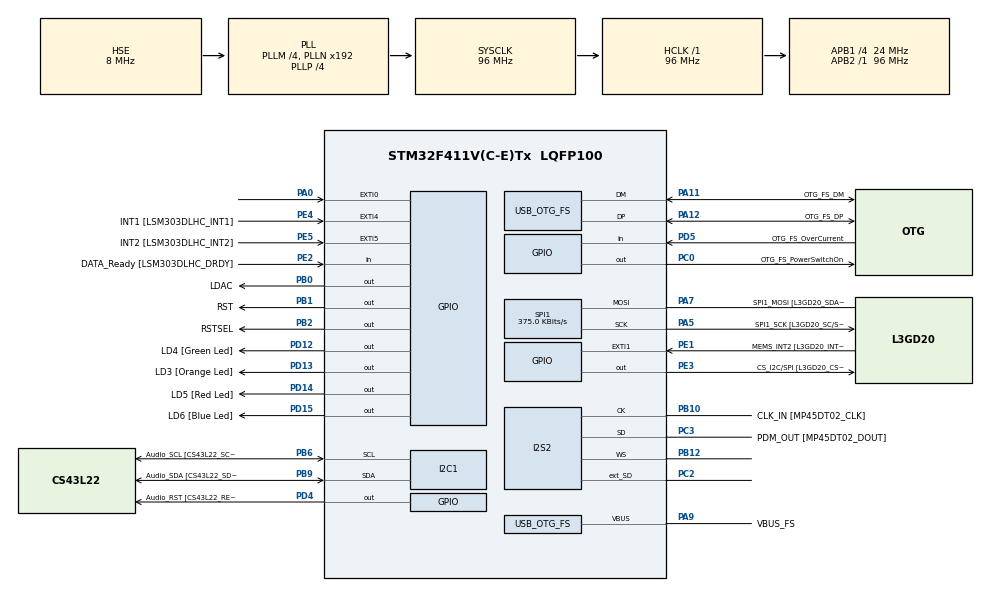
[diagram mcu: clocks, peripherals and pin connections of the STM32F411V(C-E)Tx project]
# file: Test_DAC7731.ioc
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Dma.Request0=SPI1_TX
Dma.SPI1_TX.0.Direction=DMA_MEMORY_TO_PERIPH
Dma.SPI1_TX.0.FIFOMode=DMA_FIFOMODE_DISABLE
Dma.SPI1_TX.0.Instance=DMA2_Stream2
Dma.SPI1_TX.0.MemDataAlignment=DMA_MDATAALIGN_HALFWORD
Dma.SPI1_TX.0.MemInc=DMA_MINC_ENABLE
Dma.SPI1_TX.0.Mode=DMA_NORMAL
Dma.SPI1_TX.0.PeriphDataAlignment=DMA_PDATAALIGN_HALFWORD
Dma.SPI1_TX.0.PeriphInc=DMA_PINC_DISABLE
Dma.SPI1_TX.0.Priority=DMA_PRIORITY_LOW
I2S2.AudioFreq=I2S_AUDIOFREQ_96K
I2S2.ErrorAudioFreq=0.15 %
I2S2.FullDuplexMode=I2S_FULLDUPLEXMODE_ENABLE
I2S2.Instance=SPI$Index
I2S2.RealAudioFreq=96.153 KHz
I2S2.VirtualMode=I2S_MODE_MASTER
Mcu.Family=STM32F4
Mcu.Name=STM32F411V(C-E)Tx
Mcu.Package=LQFP100
NVIC.DMA2_Stream2_IRQn=true\:0\:0\:false\:false\:true\:false\:true\:true
NVIC.OTG_FS_IRQn=true\:0\:0\:false\:false\:true\:true\:true\:true
NVIC.PriorityGroup=NVIC_PRIORITYGROUP_0
NVIC.SPI1_IRQn=true\:0\:0\:false\:false\:true\:true\:true\:true
PA0-WKUP.GPIO_ModeDefaultEXTI=GPIO_MODE_EVT_RISING
PA0-WKUP.Signal=GPXTI0
PA10.GPIO_Label=OTG_FS_ID
PA10.Signal=USB_OTG_FS_ID
PA11.GPIO_Label=OTG_FS_DM
PA11.Mode=Host_Only
PA11.Signal=USB_OTG_FS_DM
PA12.GPIO_Label=OTG_FS_DP
PA12.Mode=Host_Only
PA12.Signal=USB_OTG_FS_DP
PA13.GPIO_Label=SWDIO
PA13.Mode=Serial_Wire
PA13.Signal=SYS_JTMS-SWDIO
PA14.GPIO_Label=SWCLK
PA14.Mode=Serial_Wire
PA14.Signal=SYS_JTCK-SWCLK
PA5.GPIO_Label=SPI1_SCK [L3GD20_SC/SPC]
PA5.Mode=Simplex_Bidirectional_Master
PA5.Signal=SPI1_SCK
PA6.GPIO_Label=SPI1_MISO [L3GD20_AS0/SDO]
PA6.Signal=SPI1_MISO
PA7.GPIO_Label=SPI1_MOSI [L3GD20_SDA/SDI/SDO]
PA7.Mode=Simplex_Bidirectional_Master
PA7.Signal=SPI1_MOSI
PA9.GPIO_Label=VBUS_FS
PA9.Mode=Activate_VBUS
PA9.Signal=USB_OTG_FS_VBUS
PB0.GPIO_Label=LDAC
PB0.GPIO_Speed=GPIO_SPEED_FREQ_VERY_HIGH
PB0.Signal=GPIO_Output
PB1.GPIO_Label=RST
PB1.GPIO_Speed=GPIO_SPEED_FREQ_VERY_HIGH
PB1.Signal=GPIO_Output
PB10.GPIO_Label=CLK_IN [MP45DT02_CLK]
PB10.Mode=Full_Duplex_Master
PB10.Signal=I2S2_CK
PB12.Mode=Full_Duplex_Master
PB12.Signal=I2S2_WS
PB2.GPIO_Label=RSTSEL
PB2.GPIO_Speed=GPIO_SPEED_FREQ_VERY_HIGH
PB2.Signal=GPIO_Output
PB3.GPIO_Label=SWO
PB3.Signal=SYS_JTDO-SWO
PB6.GPIO_Label=Audio_SCL [CS43L22_SCL]
PB6.GPIO_Mode=GPIO_MODE_AF_OD
PB6.GPIO_Pu=GPIO_PULLUP
PB6.GPIO_PuPd=GPIO_NOPULL
PB6.GPIO_Speed=GPIO_SPEED_FREQ_LOW
PB6.Mode=I2C
PB6.Signal=I2C1_SCL
PB9.GPIO_Label=Audio_SDA [CS43L22_SDA]
PB9.GPIO_Mode=GPIO_MODE_AF_OD
PB9.GPIO_Pu=GPIO_PULLUP
PB9.GPIO_PuPd=GPIO_NOPULL
PB9.GPIO_Speed=GPIO_SPEED_FREQ_LOW
PB9.Mode=I2C
PB9.Signal=I2C1_SDA
PC0.GPIO_Label=OTG_FS_PowerSwitchOn
PC0.PinState=GPIO_PIN_SET
PC0.Signal=GPIO_Output
PC10.GPIO_Label=I2S3_SCK [CS43L22_SCLK]
PC10.GPIO_Mode=GPIO_MODE_AF_PP
PC10.GPIO_PuPd=GPIO_NOPULL
PC10.GPIO_Speed=GPIO_SPEED_FREQ_LOW
PC10.Signal=I2S3_CK
PC12.GPIO_Label=I2S3_SD [CS43L22_SDIN]
PC12.GPIO_Mode=GPIO_MODE_AF_PP
PC12.GPIO_PuPd=GPIO_NOPULL
PC12.GPIO_Speed=GPIO_SPEED_FREQ_LOW
PC12.Signal=I2S3_SD
PC14-OSC32_IN.GPIO_Label=PC14-OSC32_IN
PC14-OSC32_IN.Mode=LSE-External-Oscillator
PC14-OSC32_IN.Signal=RCC_OSC32_IN
PC15-OSC32_OUT.GPIO_Label=PC15-OSC32_OUT
PC15-OSC32_OUT.Mode=LSE-External-Oscillator
PC15-OSC32_OUT.Signal=RCC_OSC32_OUT
PC2.Mode=Full_Duplex_Master
PC2.Signal=I2S2_ext_SD
PC3.GPIO_Label=PDM_OUT [MP45DT02_DOUT]
PC3.Mode=Full_Duplex_Master
PC3.Signal=I2S2_SD
PC7.GPIO_Label=I2S3_MCK [CS43L22_MCLK]
PC7.GPIO_Mode=GPIO_MODE_AF_PP
PC7.GPIO_PuPd=GPIO_NOPULL
PC7.GPIO_Speed=GPIO_SPEED_FREQ_LOW
PC7.Signal=I2S3_MCK
PD12.GPIO_Label=LD4 [Green Led]
PD12.GPIO_PuPd=GPIO_NOPULL
PD12.GPIO_Speed=GPIO_SPEED_FREQ_LOW
PD12.Signal=GPIO_Output
PD13.GPIO_Label=LD3 [Orange Led]
PD13.GPIO_PuPd=GPIO_NOPULL
PD13.GPIO_Speed=GPIO_SPEED_FREQ_LOW
PD13.Signal=GPIO_Output
PD14.GPIO_Label=LD5 [Red Led]
PD14.GPIO_PuPd=GPIO_NOPULL
PD14.GPIO_Speed=GPIO_SPEED_FREQ_LOW
PD14.Signal=GPIO_Output
PD15.GPIO_Label=LD6 [Blue Led]
PD15.GPIO_PuPd=GPIO_NOPULL
PD15.GPIO_Speed=GPIO_SPEED_FREQ_LOW
PD15.Signal=GPIO_Output
PD4.GPIO_Label=Audio_RST [CS43L22_RESET]
PD4.Signal=GPIO_Output
PD5.GPIO_Label=OTG_FS_OverCurrent
PD5.Signal=GPIO_Input
PE1.GPIO_Label=MEMS_INT2 [L3GD20_INT2]
PE1.GPIO_ModeDefaultEXTI=GPIO_MODE_EVT_RISING
PE1.Signal=GPXTI1
PE2.GPIO_Label=DATA_Ready [LSM303DLHC_DRDY]
PE2.Signal=GPIO_Input
PE3.GPIO_Label=CS_I2C/SPI [L3GD20_CS_I2C/SPI]
PE3.Signal=GPIO_Output
PE4.GPIO_Label=INT1 [LSM303DLHC_INT1]
PE4.GPIO_ModeDefaultEXTI=GPIO_MODE_EVT_RISING
PE4.Signal=GPXTI4
PE5.GPIO_Label=INT2 [LSM303DLHC_INT2]
PE5.GPIO_ModeDefaultEXTI=GPIO_MODE_EVT_RISING
PE5.Signal=GPXTI5
PH0\ -\ OSC_IN.GPIO_Label=PH0-OSC_IN
PH0\ -\ OSC_IN.Mode=HSE-External-Oscillator
PH0\ -\ OSC_IN.Signal=RCC_OSC_IN
PH1\ -\ OSC_OUT.GPIO_Label=PH1-OSC_OUT
PH1\ -\ OSC_OUT.Mode=HSE-External-Oscillator
PH1\ -\ OSC_OUT.Signal=RCC_OSC_OUT
ProjectManager.HeapSize=0x200
ProjectManager.StackSize=0x400
ProjectManager.TargetToolchain=Makefile
RCC.48MHZClocksFreq_Value=48000000
RCC.AHBFreq_Value=96000000
RCC.APB1CLKDivider=RCC_HCLK_DIV4
RCC.APB1Freq_Value=24000000
RCC.APB1TimFreq_Value=48000000
RCC.APB2Freq_Value=96000000
RCC.APB2TimFreq_Value=96000000
RCC.CortexFreq_Value=96000000
RCC.HCLKFreq_Value=96000000
RCC.HSE_VALUE=8000000
RCC.HSI_VALUE=16000000
RCC.PLLI2SM=5
RCC.PLLI2SN=200
RCC.PLLM=4
RCC.PLLP=RCC_PLLP_DIV4
RCC.PLLQ=8
RCC.SYSCLKFreq_VALUE=96000000
RCC.SYSCLKSource=RCC_SYSCLKSOURCE_PLLCLK
RCC.VCOOutputFreq_Value=384000000
SPI1.BaudRatePrescaler=SPI_BAUDRATEPRESCALER_256
SPI1.CalculateBaudRate=375.0 KBits/s
SPI1.DataSize=SPI_DATASIZE_16BIT
SPI1.Direction=SPI_DIRECTION_1LINE
SPI1.Mode=SPI_MODE_MASTER
SPI1.VirtualType=VM_MASTER
USB_HOST.BSP.number=1
USB_HOST.USBH_HandleTypeDef=hUsbHostFS
USB_HOST.VirtualModeFS=Cdc
USB_HOST0.BSP.STBoard=false
USB_HOST0.BSP.api=Unknown
USB_HOST0.BSP.instance=PC0
USB_HOST0.BSP.ip=GPIO
USB_HOST0.BSP.mode=Output
USB_HOST0.BSP.name=Drive_VBUS_FS
USB_HOST0.BSP.solution=PC0
USB_OTG_FS.VirtualMode=Host_Only
USB_OTG_FS.phy_itface=HCD_PHY_EMBEDDED
VP_USB_HOST_VS_USB_HOST_CDC_FS.Mode=CDC_FS
board=STM32F411E-DISCO

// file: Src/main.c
/* USER CODE BEGIN Header */
/**
  ******************************************************************************
  * @file           : main.c
  * @brief          : Main program body
  ******************************************************************************
// Input
VCC    <-> +15V
VSS    <-> -15V
AGND <-> GND của VCC VSS <-> GND MCU

VDD    <-> 5V MCU
DGND <-> GND MCU

CS <-> GND

// Output
Vout
AGND

// Data connection with STM32 SPI1
PA5 <-> SCK
PA7 (MOSI) <-> SDI

PB0 - LDAC
PB1 - RST
PB2 - RSTSEL
  ******************************************************************************
  */
/* USER CODE END Header */
#include "main.h"
#include "dma.h"
#include "i2c.h"
#include "i2s.h"
#include "spi.h"
#include "usb_host.h"
#include "gpio.h"

/* USER CODE BEGIN PV */
uint16_t send_data = 0;
/* USER CODE END PV */

void SystemClock_Config(void);
void MX_USB_HOST_Process(void);

/* USER CODE BEGIN 0 */
void HAL_SPI_TxCpltCallback(SPI_HandleTypeDef *hspi) {
  UNUSED(hspi);
  if(hspi->Instance == hspi1.Instance) {
    HAL_GPIO_WritePin(LDAC_GPIO_Port, LDAC_Pin, GPIO_PIN_SET); // Latch data
    HAL_GPIO_TogglePin(LD3_GPIO_Port, LD3_Pin);
  }
}

void setDACtoMinus10V() {
  HAL_GPIO_WritePin(RST_GPIO_Port, RST_Pin, GPIO_PIN_RESET); // RST Low
  HAL_GPIO_WritePin(RSTSEL_GPIO_Port, RSTSEL_Pin, GPIO_PIN_RESET); // RSTSEL Low
}

void setDACto0V() {
  HAL_GPIO_WritePin(RST_GPIO_Port, RST_Pin, GPIO_PIN_RESET); // RST Low
  HAL_GPIO_WritePin(RSTSEL_GPIO_Port, RSTSEL_Pin, GPIO_PIN_SET); // RSTSEL High
}

/* USER CODE END 0 */

int main(void)
{

  /* MCU Configuration--------------------------------------------------------*/

  /* Reset of all peripherals, Initializes the Flash interface and the Systick. */
  HAL_Init();

  /* Configure the system clock */
  SystemClock_Config();

  /* Initialize all configured peripherals */
  MX_GPIO_Init();
  MX_DMA_Init();
  MX_I2C1_Init();
  MX_I2S2_Init();
  MX_SPI1_Init();
  MX_USB_HOST_Init();

  /* Infinite loop */
  while (1)
  {
    MX_USB_HOST_Process();

    /* USER CODE BEGIN 3 */
    HAL_GPIO_WritePin(RST_GPIO_Port, RST_Pin, GPIO_PIN_SET); // RST High + CS always Low => ready to send
    HAL_GPIO_WritePin(LDAC_GPIO_Port, LDAC_Pin, GPIO_PIN_RESET); // clear LDAC pin
    HAL_SPI_Transmit_IT(&hspi1, (uint8_t*)&send_data, 1);       // send. For small data, IT mode is faster than DMA mode
    send_data++;
    HAL_Delay(10);
  }
  /* USER CODE END 3 */
}

void SystemClock_Config(void)
{
  RCC_OscInitTypeDef RCC_OscInitStruct = {0};
  RCC_ClkInitTypeDef RCC_ClkInitStruct = {0};

  /** Configure the main internal regulator output voltage
  */
  __HAL_RCC_PWR_CLK_ENABLE();
  __HAL_PWR_VOLTAGESCALING_CONFIG(PWR_REGULATOR_VOLTAGE_SCALE1);

  /** Initializes the RCC Oscillators according to the specified parameters
  * in the RCC_OscInitTypeDef structure.
  */
  RCC_OscInitStruct.OscillatorType = RCC_OSCILLATORTYPE_HSE;
  RCC_OscInitStruct.HSEState = RCC_HSE_ON;
  RCC_OscInitStruct.PLL.PLLState = RCC_PLL_ON;
  RCC_OscInitStruct.PLL.PLLSource = RCC_PLLSOURCE_HSE;
  RCC_OscInitStruct.PLL.PLLM = 4;
  RCC_OscInitStruct.PLL.PLLN = 192;
  RCC_OscInitStruct.PLL.PLLP = RCC_PLLP_DIV4;
  RCC_OscInitStruct.PLL.PLLQ = 8;
  if (HAL_RCC_OscConfig(&RCC_OscInitStruct) != HAL_OK)
  {
    Error_Handler();
  }

  /** Initializes the CPU, AHB and APB buses clocks
  */
  RCC_ClkInitStruct.ClockType = RCC_CLOCKTYPE_HCLK|RCC_CLOCKTYPE_SYSCLK
                              |RCC_CLOCKTYPE_PCLK1|RCC_CLOCKTYPE_PCLK2;
  RCC_ClkInitStruct.SYSCLKSource = RCC_SYSCLKSOURCE_PLLCLK;
  RCC_ClkInitStruct.AHBCLKDivider = RCC_SYSCLK_DIV1;
  RCC_ClkInitStruct.APB1CLKDivider = RCC_HCLK_DIV4;
  RCC_ClkInitStruct.APB2CLKDivider = RCC_HCLK_DIV1;

  if (HAL_RCC_ClockConfig(&RCC_ClkInitStruct, FLASH_LATENCY_3) != HAL_OK)
  {
    Error_Handler();
  }
}

void Error_Handler(void)
{
  __disable_irq();
  while (1)
  {
  }
}
